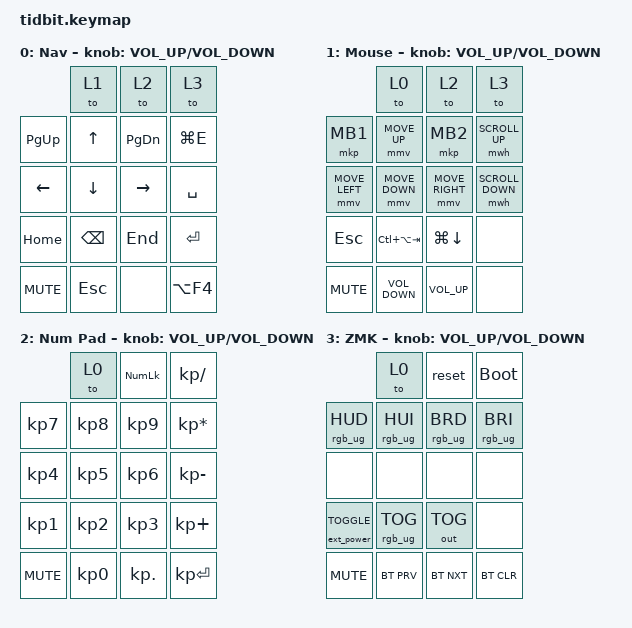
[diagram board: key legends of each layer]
/*
 * Copyright (c) 2020 The ZMK Contributors
 *
 * SPDX-License-Identifier: MIT
 */

#include <behaviors.dtsi>
#include <dt-bindings/zmk/bt.h>
#include <dt-bindings/zmk/outputs.h>
#include <dt-bindings/zmk/rgb.h>
#include <dt-bindings/zmk/keys.h>
#include <dt-bindings/zmk/ext_power.h>
#include <dt-bindings/zmk/mouse.h>

&encoder_1_top_row {
    status = "disabled";
};

&encoder_4 {
    status = "okay";
};

&pro_micro_i2c {
	status = "okay";
};

/ {
    sensors {
		compatible = "zmk,keymap-sensors";
		sensors = <&encoder_4>;
	};

    keymap {
        compatible = "zmk,keymap";
        navigation_layer {
            // &rgb_ug RGB_COLOR_HSB(215, 100, 50)
            label = "Nav";
            // activate-behaviors = <
	        //     &rgb_ug RGB_COLOR_HSB(215, 100, 50)
			// >;

            // deactivate-behaviors = <
            //     &rgb_ug RGB_COLOR_HSB(0, 100, 50)
            // >;

            bindings = <
                           &to 1    &to 2     &to 3
                &kp PG_UP  &kp UP   &kp PG_DN &kp LG(E)
                &kp LEFT   &kp DOWN &kp RIGHT &kp SPACE
                &kp HOME   &kp BSPC &kp END   &kp ENTER
                &kp C_MUTE &kp ESC  &none     &kp LA(F4)
            >;

            sensor-bindings = <&inc_dec_kp C_VOLUME_UP C_VOLUME_DOWN>;
        };
        mouse_layer {
            // &rgb_ug RGB_COLOR_HSB(275, 100, 50)
            label = "Mouse";
            bindings = <
                               &to 0             &to 2              &to 3
                &mkp MB1       &mmv MOVE_UP      &mkp MB2           &mwh SCROLL_UP
                &mmv MOVE_LEFT &mmv MOVE_DOWN    &mmv MOVE_RIGHT    &mwh SCROLL_DOWN
                &kp ESCAPE     &kp LC(LA(TAB))   &kp LG(DOWN_ARROW) &none
                &kp C_MUTE     &kp C_VOLUME_DOWN &kp C_VOLUME_UP    &none
            >;

            sensor-bindings = <&inc_dec_kp C_VOLUME_UP C_VOLUME_DOWN>;
        };
        num_pad_layer {
            // &rgb_ug RGB_COLOR_HSB(35, 100, 50)
            label = "Num Pad";
            bindings = <
                                &to 0           &kp KP_NUMLOCK  &kp KP_SLASH
                &kp KP_NUMBER_7 &kp KP_NUMBER_8 &kp KP_NUMBER_9 &kp KP_ASTERISK
                &kp KP_NUMBER_4 &kp KP_NUMBER_5 &kp KP_NUMBER_6 &kp KP_MINUS
                &kp KP_NUMBER_1 &kp KP_NUMBER_2 &kp KP_NUMBER_3 &kp KP_PLUS
                &kp C_MUTE      &kp KP_NUMBER_0 &kp KP_DOT      &kp KP_ENTER
            >;

            sensor-bindings = <&inc_dec_kp C_VOLUME_UP C_VOLUME_DOWN>;
        };

         zmk_layer {
             // &rgb_ug RGB_COLOR_HSB(0, 100, 50)
             label = "ZMK";
             bindings = <
                                &to 0           &reset          &bootloader
                &rgb_ug RGB_HUD &rgb_ug RGB_HUI &rgb_ug RGB_BRD &rgb_ug RGB_BRI
                &none           &none           &none           &none
                &ext_power EXT_POWER_TOGGLE_CMD &rgb_ug RGB_TOG &out OUT_TOG &none
                &kp C_MUTE      &bt BT_PRV      &bt BT_NXT      &bt BT_CLR
             >;

            sensor-bindings = <&inc_dec_kp C_VOLUME_UP C_VOLUME_DOWN>;
         };
    };
};
